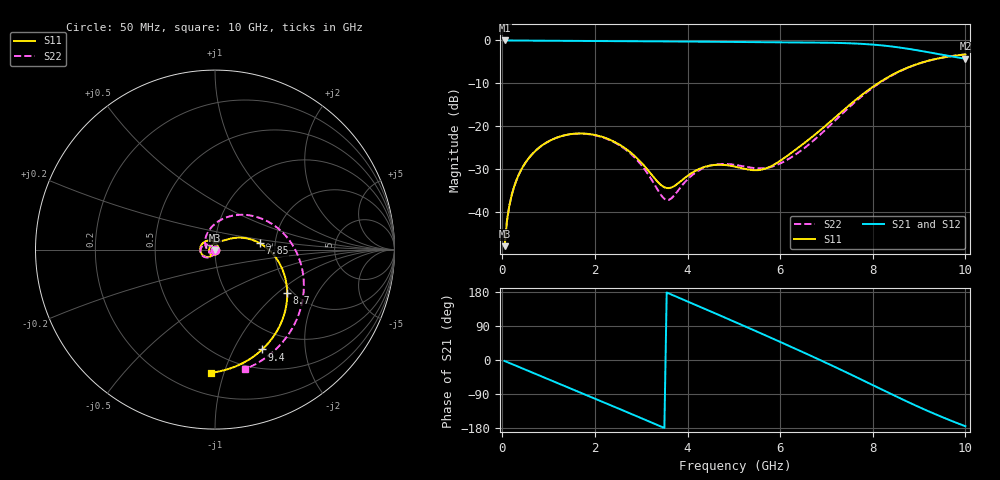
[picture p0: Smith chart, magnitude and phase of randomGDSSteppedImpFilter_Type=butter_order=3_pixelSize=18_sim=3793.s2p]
! freq	dB(S11)	phase(S11)	dB(S12)	phase(S12)
!  dB(S21)	phase(S21)	dB(S22)	phase(S22)
!S-par simulation data
#  GHz  S  DB  R 50
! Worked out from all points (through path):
!   200 points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, 50 MHz to 10 GHz, reference 50 ohm
!   highest |S21| = -0.01 dB at 50 MHz (marker M1); lowest = -4.3 dB at 10 GHz (marker M2)
!   group delay of S21, straight-line fit = 150 ps
!   lowest |S11| = -47.9 dB at 50 MHz (marker M3), VSWR 1.01, Z = 50 - j0.402 ohm
!   |S11| at or under -10 dB: start of sweep to 8.112 GHz
!   |S22| runs from -47.9 to -3.3 dB; largest |S21 - S12| = 0
!   S11 on the Smith chart (normalised r, x): 50 MHz: 1.00, -0.01; 7.85 GHz: 1.66, +0.13; 8.7 GHz: 1.88, -1.16; 9.4 GHz: 0.73, -1.30; 10 GHz: 0.35, -0.91
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0.05  -47.91 -90.0  -0.01 -2.6  -0.01 -2.6  -47.91 -89.7
0.1  -42.07 -93.8  -0.01 -5.2  -0.01 -5.2  -42.07 -93.3
0.2  -36.15 -100.2  -0.02 -10.3  -0.02 -10.3  -36.14 -99.1
0.5  -28.48 -117.3  -0.04 -25.6  -0.04 -25.6  -28.47 -114.6
1.15  -22.74 -153.2  -0.09 -58.7  -0.09 -58.7  -22.75 -146.4
1.75  -21.68 172.9  -0.13 -89.2  -0.13 -89.2  -21.72 -174.6
2.2  -22.60 146.1  -0.15 -112.2  -0.15 -112.2  -22.69 165.5
2.7  -25.48 112.1  -0.17 -137.9  -0.17 -137.9  -25.72 146.6
3.4  -33.41 30.0  -0.22 -174.1  -0.22 -174.1  -35.58 154.7
3.6  -34.39 -11.9  -0.23 175.4  -0.23 175.4  -37.11 -173.5
4.15  -30.48 -93.8  -0.28 146.6  -0.28 146.6  -30.95 -143.2
4.6  -28.98 -133.9  -0.31 122.9  -0.31 122.9  -28.91 -152.7
5.05  -29.45 -174.1  -0.34 99.1  -0.34 99.1  -29.01 -163.1
5.8  -29.32 100.3  -0.39 58.7  -0.39 58.7  -29.47 -168.4
6.25  -26.11 62.9  -0.42 34.1  -0.42 34.1  -27.15 177.8
6.7  -22.38 43.9  -0.47 9.1  -0.47 9.1  -23.52 146.0
7.25  -17.34 29.0  -0.58 -22.2  -0.58 -22.2  -17.99 99.1
7.85  -11.99 8.2  -0.85 -57.3  -0.85 -57.3  -12.24 52.6
8.35  -8.44 -14.1  -1.34 -87.0  -1.34 -87.0  -8.54 17.8
8.7  -6.57 -31.0  -1.84 -107.3  -1.84 -107.3  -6.63 -4.8
9.4  -4.22 -64.7  -3.14 -145.6  -3.14 -145.6  -4.23 -45.5
10  -3.27 -91.8  -4.25 -174.9  -4.25 -174.9  -3.27 -75.8
